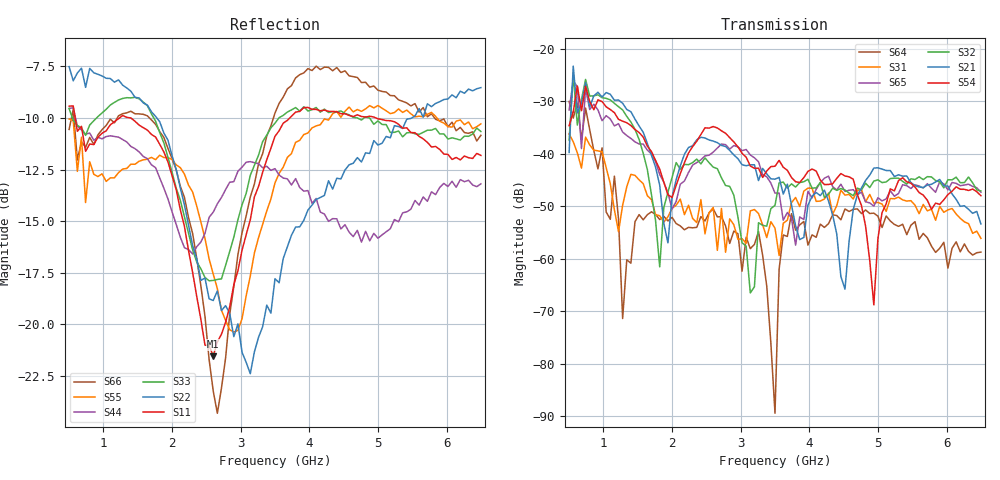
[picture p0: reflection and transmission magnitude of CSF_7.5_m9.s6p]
!Keysight Technologies,M9804A,MY58100912,A.14.10.03
!Date: Thursday, April 27, 2023 10:28:33
!Correction: S11(C  6-Port  )
!S12(C  6-Port  )
!S13(C  6-Port  )
!S14(C  6-Port  )
!S15(C  6-Port  )
!S16(C  6-Port  )
!S21(C  6-Port  )
!S22(C  6-Port  )
!S23(C  6-Port  )
!S24(C  6-Port  )
!S25(C  6-Port  )
!S26(C  6-Port  )
!S31(C  6-Port  )
!S32(C  6-Port  )
!S33(C  6-Port  )
!S34(C  6-Port  )
!S35(C  6-Port  )
!S36(C  6-Port  )
!S41(C  6-Port  )
!S42(C  6-Port  )
!S43(C  6-Port  )
!S44(C  6-Port  )
!S45(C  6-Port  )
!S46(C  6-Port  )
!S51(C  6-Port  )
!S52(C  6-Port  )
!S53(C  6-Port  )
!S54(C  6-Port  )
!S55(C  6-Port  )
!S56(C  6-Port  )
!S61(C  6-Port  )
!S62(C  6-Port  )
!S63(C  6-Port  )
!S64(C  6-Port  )
!S65(C  6-Port  )
!S66(C  6-Port  )
!S6P File: Measurement: :
# Hz S  RI  R 50
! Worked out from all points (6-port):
!   101 points, 500 MHz to 6.5 GHz, reference 50 ohm
!   strongest paths, dB at 500 MHz, 2 GHz, 3.5 GHz, 5 GHz, 6.5 GHz:
!     S54: -34.6, -48.3, -42.4, -56.1, -48.0
!     S21: -39.7, -48.3, -44.8, -42.7, -53.3
!     S32: -37.4, -44.5, -49.8, -45.0, -47.1
!     S65: -31.7, -50.5, -47.5, -48.4, -47.3
!     S31: -36.2, -50.4, -54.2, -49.3, -56.1
!     S64: -30.0, -52.1, -89.4, -51.9, -58.7
!   lowest |S11| = -21.5 dB at 2.6 GHz (marker M1), VSWR 1.18, Z = 42.5 + j2.08 ohm
!   |S11| at or under -10 dB: 588.5 MHz to 1.233 GHz (644.7 MHz wide, 70.8 % of centre); 1.4 GHz to 3.715 GHz (2.314 GHz wide, 90.5 % of centre); 4.972 GHz to end of sweep
